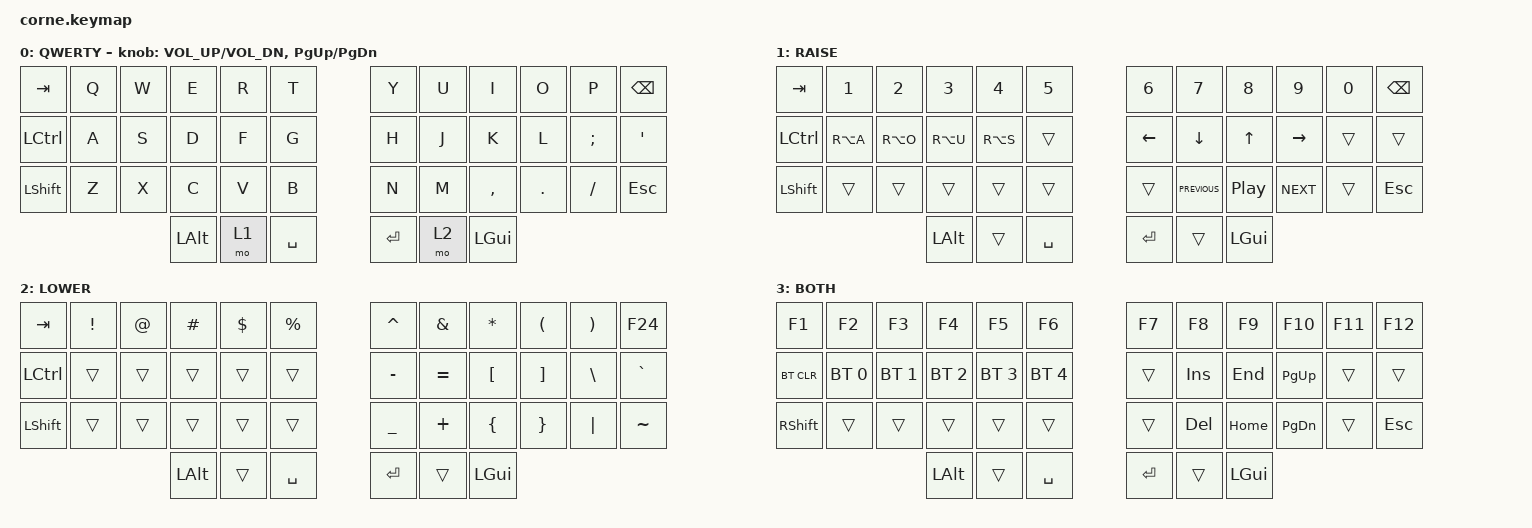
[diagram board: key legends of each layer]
#include <behaviors.dtsi>
#include <dt-bindings/zmk/bt.h>
#include <dt-bindings/zmk/keys.h>

/ {
    keymap {
        compatible = "zmk,keymap";

        QWERTY {
            bindings = <
&kp TAB     &kp Q  &kp W  &kp E         &kp R  &kp T        &kp Y      &kp U  &kp I         &kp O       &kp P      &kp BACKSPACE
&kp LCTRL   &kp A  &kp S  &kp D         &kp F  &kp G        &kp H      &kp J  &kp K         &kp L       &kp SEMI   &kp SQT
&kp LSHIFT  &kp Z  &kp X  &kp C         &kp V  &kp B        &kp N      &kp M  &kp COMMA     &kp PERIOD  &kp SLASH  &kp ESCAPE
                          &kp LEFT_ALT  &mo 1  &kp SPACE    &kp ENTER  &mo 2  &kp LEFT_GUI
            >;

            sensor-bindings = <&inc_dec_kp C_VOL_UP C_VOL_DN &inc_dec_kp PG_UP PG_DN>;
        };

        RAISE {
            bindings = <
&kp TAB    &kp N1     &kp N2     &kp N3     &kp N4     &kp N5       &kp N6          &kp N7          &kp N8            &kp N9           &kp N0  &kp BSPC
&kp LCTRL  &kp RA(A)  &kp RA(O)  &kp RA(U)  &kp RA(S)  &trans       &kp LEFT_ARROW  &kp DOWN_ARROW  &kp UP_ARROW      &kp RIGHT_ARROW  &trans  &trans
&kp LSHFT  &trans     &trans     &trans     &trans     &trans       &trans          &kp C_PREVIOUS  &kp C_PLAY_PAUSE  &kp C_NEXT       &trans  &kp ESC
                                 &kp LALT   &trans     &kp SPACE    &kp RETURN      &trans          &kp LGUI
            >;
        };

        LOWER {
            bindings = <
&kp TAB    &kp EXCLAMATION  &kp AT_SIGN  &kp HASH  &kp DOLLAR  &kp PERCENT    &kp CARET       &kp AMPERSAND  &kp ASTERISK      &kp LEFT_PARENTHESIS  &kp RIGHT_PARENTHESIS  &kp F24
&kp LCTRL  &trans           &trans       &trans    &trans      &trans         &kp MINUS       &kp EQUAL      &kp LEFT_BRACKET  &kp RIGHT_BRACKET     &kp BACKSLASH          &kp GRAVE
&kp LSHFT  &trans           &trans       &trans    &trans      &trans         &kp UNDERSCORE  &kp PLUS       &kp LEFT_BRACE    &kp RIGHT_BRACE       &kp PIPE               &kp TILDE
                                         &kp LALT  &trans      &kp SPACE      &kp RETURN      &trans         &kp LGUI
            >;
        };

        BOTH {
            bindings = <
&kp F1           &kp F2        &kp F3        &kp F4        &kp F5        &kp F6          &kp F7      &kp F8      &kp F9    &kp F10        &kp F11  &kp F12
&bt BT_CLR       &bt BT_SEL 0  &bt BT_SEL 1  &bt BT_SEL 2  &bt BT_SEL 3  &bt BT_SEL 4    &trans      &kp INSERT  &kp END   &kp PAGE_UP    &trans   &trans
&kp RIGHT_SHIFT  &trans        &trans        &trans        &trans        &trans          &trans      &kp DELETE  &kp HOME  &kp PAGE_DOWN  &trans   &kp ESC
                                             &kp LALT      &trans        &kp SPACE       &kp RETURN  &trans      &kp LGUI
            >;
        };
    };

    conditional_layers {
        compatible = "zmk,conditional-layers";

        BOTH {
            if-layers = <1 2>;
            then-layer = <3>;
        };
    };
};
